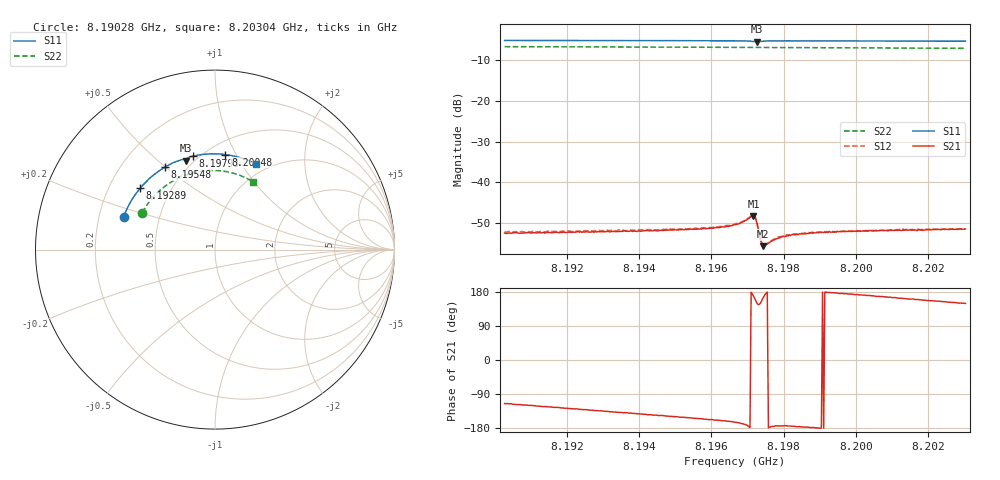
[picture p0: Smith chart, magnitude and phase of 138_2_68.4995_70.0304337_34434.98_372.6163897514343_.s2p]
#  HZ  S  RI  R  50.00
! Rohde & Schwarz Vector Network Analyzer
! Rohde-Schwarz,ZNB20-2Port,1311601062101988,3.16
! Created: UTC 3/20/2024, 4:54:45 PM
! freq[Hz]  re:S11  im:S11  re:S21  im:S21  re:S12  im:S12  re:S22  im:S22
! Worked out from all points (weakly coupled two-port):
!   401 points, 8.19028 GHz to 8.20304 GHz, reference 50 ohm
!   highest |S21| = -48.18 dB at 8.19717 GHz (marker M1); lowest = -55.5 dB at 8.19742 GHz (marker M2)
!   lowest |S11| = -5.6 dB at 8.19726 GHz (marker M3), VSWR 3.19, Z = 22.7 + j31 ohm
!   |S11| at or under -10 dB: nowhere
!   |S22| runs from -7.3 to -6.9 dB; largest |S21 - S12| = 0.00021
!   S11 on the Smith chart (normalised r, x): 8.19028 GHz: 0.31, +0.16; 8.19289 GHz: 0.33, +0.32; 8.19548 GHz: 0.38, +0.50; 8.19793 GHz: 0.47, +0.68; 8.20048 GHz: 0.61, +0.91; 8.20304 GHz: 0.88, +1.16
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8.190277e9  -0.509 0.183  -0.00101 -0.00218  -0.00107 -0.00221  -0.4054 0.205
8.192414e9  -0.4381 0.315  -0.00161 -0.00187  -0.00172 -0.00192  -0.3365 0.3013
8.192892e9  -0.4176 0.3416  -0.00175 -0.00179  -0.00188 -0.0018  -0.3177 0.32
8.194551e9  -0.3336 0.4225  -0.00217 -0.00143  -0.00226 -0.0014  -0.2445 0.376
8.195476e9  -0.2794 0.4593  -0.00241 -0.00122  -0.00248 -0.00117  -0.1989 0.4007
8.196241e9  -0.231 0.4845  -0.00265 -0.000992  -0.00276 -0.000886  -0.1592 0.4167
8.196656e9  -0.2029 0.4961  -0.00295 -0.000819  -0.00306 -0.000715  -0.137 0.4237
8.196879e9  -0.1866 0.501  -0.00325 -0.00067  -0.00329 -0.000572  -0.1248 0.4272
8.197102e9  -0.168 0.5021  -0.00383 9.84e-05  -0.00389 0.000252  -0.1125 0.4299
8.197166e9  -0.1636 0.4997  -0.00383 0.000744  -0.00389 0.000898  -0.1092 0.4306
8.19723e9  -0.1626 0.4966  -0.00327 0.00145  -0.00332 0.00159  -0.1057 0.4313
8.197262e9  -0.1634 0.4963  -0.00277 0.00156  -0.00276 0.00177  -0.1041 0.4316
8.197358e9  -0.1636 0.502  -0.00175 0.00102  -0.00174 0.00108  -0.0991 0.4328
8.197421e9  -0.1602 0.5062  -0.00159 0.000508  -0.00162 0.000622  -0.0955 0.4335
8.197485e9  -0.1557 0.5094  -0.00166 0.000219  -0.00171 0.000309  -0.0919 0.4342
8.197709e9  -0.1391 0.5164  -0.00196 -0.000172  -0.00199 -9.35e-05  -0.0793 0.4364
8.197932e9  -0.1227 0.5208  -0.00215 -0.000224  -0.00219 -0.000186  -0.0669 0.4382
8.198283e9  -0.0976 0.526  -0.0023 -0.000202  -0.00234 -0.000101  -0.0471 0.44
8.198793e9  -0.0614 0.531  -0.00241 -8.52e-05  -0.00248 2.28e-05  -0.0185 0.4413
8.200483e9  0.0583 0.5296  -0.00251 0.000466  -0.00253 0.000605  0.0769 0.4318
8.20093e9  0.0895 0.5246  -0.00253 0.000629  -0.0025 0.00078  0.1016 0.4258
8.203035e9  0.2301 0.4767  -0.00233 0.00138  -0.00228 0.00151  0.2119 0.3783
